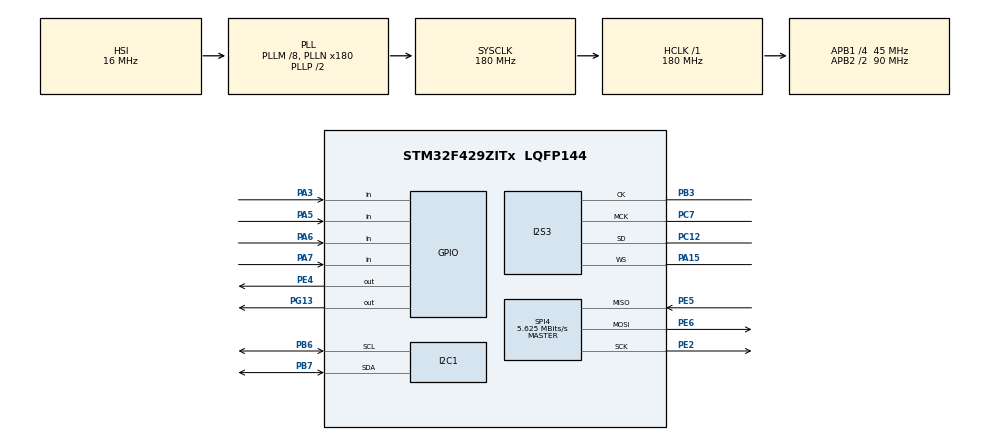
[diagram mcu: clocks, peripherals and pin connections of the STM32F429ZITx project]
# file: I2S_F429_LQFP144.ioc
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Dma.Request0=SPI3_TX
Dma.SPI3_TX.0.Direction=DMA_MEMORY_TO_PERIPH
Dma.SPI3_TX.0.FIFOMode=DMA_FIFOMODE_DISABLE
Dma.SPI3_TX.0.Instance=DMA1_Stream5
Dma.SPI3_TX.0.MemDataAlignment=DMA_MDATAALIGN_HALFWORD
Dma.SPI3_TX.0.MemInc=DMA_MINC_ENABLE
Dma.SPI3_TX.0.Mode=DMA_CIRCULAR
Dma.SPI3_TX.0.PeriphDataAlignment=DMA_PDATAALIGN_HALFWORD
Dma.SPI3_TX.0.PeriphInc=DMA_PINC_DISABLE
Dma.SPI3_TX.0.Priority=DMA_PRIORITY_HIGH
I2C1.I2C_Mode=I2C_Fast
I2S3.AudioFreq=I2S_AUDIOFREQ_48K
I2S3.DataFormat=I2S_DATAFORMAT_16B_EXTENDED
I2S3.ErrorAudioFreq=-0.01 %
I2S3.FullDuplexMode=I2S_FULLDUPLEXMODE_DISABLE
I2S3.Instance=SPI$Index
I2S3.RealAudioFreq=47.991 KHz
I2S3.VirtualMode=I2S_MODE_MASTER
Mcu.Family=STM32F4
Mcu.Name=STM32F429ZITx
Mcu.Package=LQFP144
NVIC.DMA1_Stream5_IRQn=true\:0\:0\:false\:false\:true\:false\:true
NVIC.PriorityGroup=NVIC_PRIORITYGROUP_4
PA15.Mode=Half_Duplex_Master
PA15.Signal=I2S3_WS
PA3.Signal=GPIO_Input
PA5.Signal=GPIO_Input
PA6.Signal=GPIO_Input
PA7.Signal=GPIO_Input
PB3.Mode=Half_Duplex_Master
PB3.Signal=I2S3_CK
PB6.Mode=I2C
PB6.Signal=I2C1_SCL
PB7.Mode=I2C
PB7.Signal=I2C1_SDA
PC12.Mode=Half_Duplex_Master
PC12.Signal=I2S3_SD
PC7.Mode=Master_Clock_Activated
PC7.Signal=I2S3_MCK
PE2.GPIO_PuPd=GPIO_PULLUP
PE2.Mode=Full_Duplex_Master
PE2.Signal=SPI4_SCK
PE4.Signal=GPIO_Output
PE5.GPIO_PuPd=GPIO_PULLUP
PE5.Mode=Full_Duplex_Master
PE5.Signal=SPI4_MISO
PE6.GPIO_PuPd=GPIO_PULLUP
PE6.Mode=Full_Duplex_Master
PE6.Signal=SPI4_MOSI
PG13.Signal=GPIO_Output
ProjectManager.HeapSize=0x200
ProjectManager.StackSize=0x400
ProjectManager.TargetToolchain=STM32CubeIDE
RCC.48MHZClocksFreq_Value=90000000
RCC.AHBFreq_Value=180000000
RCC.APB1CLKDivider=RCC_HCLK_DIV4
RCC.APB1Freq_Value=45000000
RCC.APB1TimFreq_Value=90000000
RCC.APB2CLKDivider=RCC_HCLK_DIV2
RCC.APB2Freq_Value=90000000
RCC.APB2TimFreq_Value=180000000
RCC.CortexFreq_Value=180000000
RCC.HCLKFreq_Value=180000000
RCC.HSE_VALUE=25000000
RCC.HSI_VALUE=16000000
RCC.LSE_VALUE=32768
RCC.PLLI2SN=172
RCC.PLLI2SR=7
RCC.PLLM=8
RCC.PLLN=180
RCC.PLLSAIN=50
RCC.SYSCLKFreq_VALUE=180000000
RCC.SYSCLKSource=RCC_SYSCLKSOURCE_PLLCLK
RCC.VCOOutputFreq_Value=360000000
SPI4.BaudRatePrescaler=SPI_BAUDRATEPRESCALER_16
SPI4.CalculateBaudRate=5.625 MBits/s
SPI4.Direction=SPI_DIRECTION_2LINES
SPI4.Mode=SPI_MODE_MASTER
SPI4.VirtualType=VM_MASTER
STMicroelectronics.X-CUBE-ALGOBUILD.1.1.0.LibraryCcDSPOoLibraryJjDSPOoLibrary=true
VP_STMicroelectronics.X-CUBE-ALGOBUILD_VS_DSPOoLibraryJjLibrary_1.1.0.Mode=DSPOoLibraryJjLibrary
board=custom

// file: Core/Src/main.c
/* USER CODE BEGIN Header */
/**
  ******************************************************************************
  * @file           : main.c
  * @brief          : Main program body
  ******************************************************************************
  * @attention
  *
  * <h2><center>&copy; Copyright (c) 2020 STMicroelectronics.
  * All rights reserved.</center></h2>
  *
  * This software component is licensed by ST under BSD 3-Clause license,
  * the "License"; You may not use this file except in compliance with the
  * License. You may obtain a copy of the License at:
  *                        opensource.org/licenses/BSD-3-Clause
  *
  ******************************************************************************
  */
/* USER CODE END Header */
#include "main.h"

/* USER CODE BEGIN Includes */

#include "../Inc/MYLIB.h"

/* USER CODE END Includes */

I2C_HandleTypeDef hi2c1;

I2S_HandleTypeDef hi2s3;
DMA_HandleTypeDef hdma_spi3_tx;

SPI_HandleTypeDef hspi4;

void SystemClock_Config(void);
static void MX_GPIO_Init(void);
static void MX_DMA_Init(void);
static void MX_I2C1_Init(void);
static void MX_I2S3_Init(void);
static void MX_SPI4_Init(void);

/* USER CODE BEGIN 0 */

/**-------------------------------------------------
 *  user init
 *  ------------------------------------------------
 *  SysTick Timer 割り込み周期計算
 *  周期 = (システムクロック / 設定する値) / システムクロック
 * -------------------------------------------------*/
void system_init(void)
{
	//PORTG 初期設定
/*	RCC->AHB1ENR   |= (RCC_AHB1ENR_GPIOGEN);	//PORTGのクロック有効
	GPIOG->MODER   &= ~GPIO_MODER_MODE13_Msk;	//PORTGを初期化
	GPIOG->MODER   |= (GPIO_MODE_OUTPUT_PP << GPIO_MODER_MODE13_Pos);	//13PINを汎用出力に設定
	GPIOG->OSPEEDR |= GPIO_SPEED_FREQ_HIGH;	//High speed
	GPIOG->PUPDR   &= ~GPIO_PUPDR_PUPD13_Msk;	//プルアップ、プルダウンなし
	GPIOG->ODR = GPIO_ODR_OD13;		//Hi出力

	//PA0　入力設定
	RCC->AHB1ENR |= (RCC_AHB1ENR_GPIOAEN);	//PORTAのクロック有効
	GPIOA->MODER &= ~(GPIO_MODER_MODE0_Msk | GPIO_MODER_MODE1_Msk | GPIO_MODER_MODE2_Msk
						| GPIO_MODER_MODE5_Msk);
	GPIOA->PUPDR &= ~(GPIO_PUPDR_PUPD0_Msk | GPIO_PUPDR_PUPD1_Msk | GPIO_PUPDR_PUPD2_Msk
						| GPIO_PUPDR_PUPD5_Msk);
*/
	music_set_info(1);
	i2s_dma_setting();
	tim2_init();
	tim3_init();
	tim7_init();
	lcd_init();
	//tft_display_init();
	//SysTick_Config(SystemCoreClock/10);
}

/* USER CODE END 0 */

int main(void)
{

  /* MCU Configuration--------------------------------------------------------*/

  /* Reset of all peripherals, Initializes the Flash interface and the Systick. */
  HAL_Init();

  /* Configure the system clock */
  SystemClock_Config();

  /* Initialize all configured peripherals */
  MX_GPIO_Init();
  MX_DMA_Init();
  MX_I2C1_Init();
  MX_I2S3_Init();
  MX_SPI4_Init();
  /* USER CODE BEGIN 2 */
  uint32_t t, sw;
  uint8_t n = 0;

  system_init();
  t = get_time();
  gain_align(' ');
  fm_align(' ');
  output_align(' ');

  /* USER CODE END 2 */

  /* Infinite loop */
  /* USER CODE BEGIN WHILE */
  while (1)
  {
	  sw = key_read(TM_200M_COUNT);

	  if (true == comparater_time(&t, TM_200M_COUNT, 'S')) {
		  t = get_time();
		  GPIOG->ODR ^= GPIO_ODR_OD13_Msk;
		  lcd_hex_flash(n, FONT12_H*4, (FONT12_W * 5) + 8, 0, 1);
		  HAL_GPIO_WritePin(GPIOE, GPIO_PIN_4, 0);
		  HAL_SPI_Transmit(&hspi4, &n, 1, 100);
		  HAL_GPIO_WritePin(GPIOE, GPIO_PIN_4, 1);
		  n++;
		  n &= 0xff;
		  //tft_display_flash((uint16_t)t);
	  }

	  if (SW_PA0 == sw) {

	  }

	  if (SW_PA3 == sw) {
		  fm_align('+');
	  }

	  if (SW_PA5 == sw) {
		  fm_align('-');
	  }

	  if (SW_PA6 == sw) {
		  output_align('+');
	  }

	  if (SW_PA7 == sw) {
		  output_align('-');
	  }
	  music_update();
    /* USER CODE END WHILE */

  }
}

void SystemClock_Config(void)
{
  RCC_OscInitTypeDef RCC_OscInitStruct = {0};
  RCC_ClkInitTypeDef RCC_ClkInitStruct = {0};
  RCC_PeriphCLKInitTypeDef PeriphClkInitStruct = {0};

  /** Configure the main internal regulator output voltage
  */
  __HAL_RCC_PWR_CLK_ENABLE();
  __HAL_PWR_VOLTAGESCALING_CONFIG(PWR_REGULATOR_VOLTAGE_SCALE1);
  /** Initializes the RCC Oscillators according to the specified parameters
  * in the RCC_OscInitTypeDef structure.
  */
  RCC_OscInitStruct.OscillatorType = RCC_OSCILLATORTYPE_HSI;
  RCC_OscInitStruct.HSIState = RCC_HSI_ON;
  RCC_OscInitStruct.HSICalibrationValue = RCC_HSICALIBRATION_DEFAULT;
  RCC_OscInitStruct.PLL.PLLState = RCC_PLL_ON;
  RCC_OscInitStruct.PLL.PLLSource = RCC_PLLSOURCE_HSI;
  RCC_OscInitStruct.PLL.PLLM = 8;
  RCC_OscInitStruct.PLL.PLLN = 180;
  RCC_OscInitStruct.PLL.PLLP = RCC_PLLP_DIV2;
  RCC_OscInitStruct.PLL.PLLQ = 4;
  if (HAL_RCC_OscConfig(&RCC_OscInitStruct) != HAL_OK)
  {
    Error_Handler();
  }
  /** Activate the Over-Drive mode
  */
  if (HAL_PWREx_EnableOverDrive() != HAL_OK)
  {
    Error_Handler();
  }
  /** Initializes the CPU, AHB and APB buses clocks
  */
  RCC_ClkInitStruct.ClockType = RCC_CLOCKTYPE_HCLK|RCC_CLOCKTYPE_SYSCLK
                              |RCC_CLOCKTYPE_PCLK1|RCC_CLOCKTYPE_PCLK2;
  RCC_ClkInitStruct.SYSCLKSource = RCC_SYSCLKSOURCE_PLLCLK;
  RCC_ClkInitStruct.AHBCLKDivider = RCC_SYSCLK_DIV1;
  RCC_ClkInitStruct.APB1CLKDivider = RCC_HCLK_DIV4;
  RCC_ClkInitStruct.APB2CLKDivider = RCC_HCLK_DIV2;

  if (HAL_RCC_ClockConfig(&RCC_ClkInitStruct, FLASH_LATENCY_5) != HAL_OK)
  {
    Error_Handler();
  }
  PeriphClkInitStruct.PeriphClockSelection = RCC_PERIPHCLK_I2S;
  PeriphClkInitStruct.PLLI2S.PLLI2SN = 172;
  PeriphClkInitStruct.PLLI2S.PLLI2SR = 7;
  if (HAL_RCCEx_PeriphCLKConfig(&PeriphClkInitStruct) != HAL_OK)
  {
    Error_Handler();
  }
}

static void MX_I2C1_Init(void)
{

  hi2c1.Instance = I2C1;
  hi2c1.Init.ClockSpeed = 400000;
  hi2c1.Init.DutyCycle = I2C_DUTYCYCLE_2;
  hi2c1.Init.OwnAddress1 = 0;
  hi2c1.Init.AddressingMode = I2C_ADDRESSINGMODE_7BIT;
  hi2c1.Init.DualAddressMode = I2C_DUALADDRESS_DISABLE;
  hi2c1.Init.OwnAddress2 = 0;
  hi2c1.Init.GeneralCallMode = I2C_GENERALCALL_DISABLE;
  hi2c1.Init.NoStretchMode = I2C_NOSTRETCH_DISABLE;
  if (HAL_I2C_Init(&hi2c1) != HAL_OK)
  {
    Error_Handler();
  }
  /** Configure Analogue filter
  */
  if (HAL_I2CEx_ConfigAnalogFilter(&hi2c1, I2C_ANALOGFILTER_ENABLE) != HAL_OK)
  {
    Error_Handler();
  }
  /** Configure Digital filter
  */
  if (HAL_I2CEx_ConfigDigitalFilter(&hi2c1, 0) != HAL_OK)
  {
    Error_Handler();
  }

}

static void MX_I2S3_Init(void)
{

  hi2s3.Instance = SPI3;
  hi2s3.Init.Mode = I2S_MODE_MASTER_TX;
  hi2s3.Init.Standard = I2S_STANDARD_PHILIPS;
  hi2s3.Init.DataFormat = I2S_DATAFORMAT_16B_EXTENDED;
  hi2s3.Init.MCLKOutput = I2S_MCLKOUTPUT_ENABLE;
  hi2s3.Init.AudioFreq = I2S_AUDIOFREQ_48K;
  hi2s3.Init.CPOL = I2S_CPOL_LOW;
  hi2s3.Init.ClockSource = I2S_CLOCK_PLL;
  hi2s3.Init.FullDuplexMode = I2S_FULLDUPLEXMODE_DISABLE;
  if (HAL_I2S_Init(&hi2s3) != HAL_OK)
  {
    Error_Handler();
  }

}

static void MX_SPI4_Init(void)
{

  /* SPI4 parameter configuration*/
  hspi4.Instance = SPI4;
  hspi4.Init.Mode = SPI_MODE_MASTER;
  hspi4.Init.Direction = SPI_DIRECTION_2LINES;
  hspi4.Init.DataSize = SPI_DATASIZE_8BIT;
  hspi4.Init.CLKPolarity = SPI_POLARITY_LOW;
  hspi4.Init.CLKPhase = SPI_PHASE_1EDGE;
  hspi4.Init.NSS = SPI_NSS_SOFT;
  hspi4.Init.BaudRatePrescaler = SPI_BAUDRATEPRESCALER_16;
  hspi4.Init.FirstBit = SPI_FIRSTBIT_MSB;
  hspi4.Init.TIMode = SPI_TIMODE_DISABLE;
  hspi4.Init.CRCCalculation = SPI_CRCCALCULATION_DISABLE;
  hspi4.Init.CRCPolynomial = 10;
  if (HAL_SPI_Init(&hspi4) != HAL_OK)
  {
    Error_Handler();
  }

}

static void MX_DMA_Init(void)
{

  /* DMA controller clock enable */
  __HAL_RCC_DMA1_CLK_ENABLE();

  /* DMA interrupt init */
  /* DMA1_Stream5_IRQn interrupt configuration */
  HAL_NVIC_SetPriority(DMA1_Stream5_IRQn, 0, 0);
  HAL_NVIC_EnableIRQ(DMA1_Stream5_IRQn);

}

static void MX_GPIO_Init(void)
{
  GPIO_InitTypeDef GPIO_InitStruct = {0};

  /* GPIO Ports Clock Enable */
  __HAL_RCC_GPIOE_CLK_ENABLE();
  __HAL_RCC_GPIOA_CLK_ENABLE();
  __HAL_RCC_GPIOC_CLK_ENABLE();
  __HAL_RCC_GPIOG_CLK_ENABLE();
  __HAL_RCC_GPIOB_CLK_ENABLE();

  /*Configure GPIO pin Output Level */
  HAL_GPIO_WritePin(GPIOE, GPIO_PIN_4, GPIO_PIN_RESET);

  /*Configure GPIO pin Output Level */
  HAL_GPIO_WritePin(GPIOG, GPIO_PIN_13, GPIO_PIN_RESET);

  /*Configure GPIO pin : PE4 */
  GPIO_InitStruct.Pin = GPIO_PIN_4;
  GPIO_InitStruct.Mode = GPIO_MODE_OUTPUT_PP;
  GPIO_InitStruct.Pull = GPIO_NOPULL;
  GPIO_InitStruct.Speed = GPIO_SPEED_FREQ_LOW;
  HAL_GPIO_Init(GPIOE, &GPIO_InitStruct);

  /*Configure GPIO pins : PA3 PA5 PA6 PA7 */
  GPIO_InitStruct.Pin = GPIO_PIN_3|GPIO_PIN_5|GPIO_PIN_6|GPIO_PIN_7;
  GPIO_InitStruct.Mode = GPIO_MODE_INPUT;
  GPIO_InitStruct.Pull = GPIO_NOPULL;
  HAL_GPIO_Init(GPIOA, &GPIO_InitStruct);

  /*Configure GPIO pin : PG13 */
  GPIO_InitStruct.Pin = GPIO_PIN_13;
  GPIO_InitStruct.Mode = GPIO_MODE_OUTPUT_PP;
  GPIO_InitStruct.Pull = GPIO_NOPULL;
  GPIO_InitStruct.Speed = GPIO_SPEED_FREQ_LOW;
  HAL_GPIO_Init(GPIOG, &GPIO_InitStruct);

}

void Error_Handler(void)
{
  __disable_irq();
  while (1)
  {
  }
}

/************************ (C) COPYRIGHT STMicroelectronics *****END OF FILE****/
